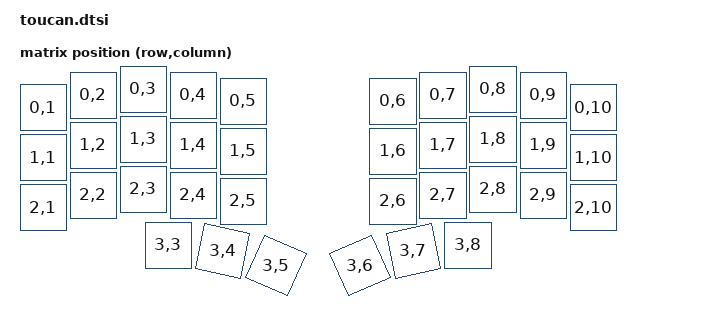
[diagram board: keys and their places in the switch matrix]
// The fork defaults to six columns. This Toucan has five columns and three
// thumbs per side. Keep the same 36-position order as hardware_layouts/36-keys.h
// so shared combos and positional hold-taps refer to the correct physical keys.
&default_transform {
    map = <
        RC(0,1) RC(0,2) RC(0,3) RC(0,4) RC(0,5) RC(0,6) RC(0,7) RC(0,8) RC(0,9) RC(0,10)
        RC(1,1) RC(1,2) RC(1,3) RC(1,4) RC(1,5) RC(1,6) RC(1,7) RC(1,8) RC(1,9) RC(1,10)
        RC(2,1) RC(2,2) RC(2,3) RC(2,4) RC(2,5) RC(2,6) RC(2,7) RC(2,8) RC(2,9) RC(2,10)
                            RC(3,3) RC(3,4) RC(3,5) RC(3,6) RC(3,7) RC(3,8)
    >;
};

// Match the physical layout to the reduced transform for ZMK Studio.
// Geometry is taken from the working fork, excluding its six outer-column keys.
/ {
default_layout: default_layout {
    compatible = "zmk,physical-layout";
    keys = <&key_physical_attrs 100 100  100   37       0     0     0>
         , <&key_physical_attrs 100 100  200   12       0     0     0>
         , <&key_physical_attrs 100 100  300    0       0     0     0>
         , <&key_physical_attrs 100 100  400   12       0     0     0>
         , <&key_physical_attrs 100 100  500   24       0     0     0>
         , <&key_physical_attrs 100 100  800   24       0     0     0>
         , <&key_physical_attrs 100 100  900   12       0     0     0>
         , <&key_physical_attrs 100 100 1000    0       0     0     0>
         , <&key_physical_attrs 100 100 1100   12       0     0     0>
         , <&key_physical_attrs 100 100 1200   37       0     0     0>
         , <&key_physical_attrs 100 100  100  137       0     0     0>
         , <&key_physical_attrs 100 100  200  112       0     0     0>
         , <&key_physical_attrs 100 100  300  100       0     0     0>
         , <&key_physical_attrs 100 100  400  112       0     0     0>
         , <&key_physical_attrs 100 100  500  124       0     0     0>
         , <&key_physical_attrs 100 100  800  124       0     0     0>
         , <&key_physical_attrs 100 100  900  112       0     0     0>
         , <&key_physical_attrs 100 100 1000  100       0     0     0>
         , <&key_physical_attrs 100 100 1100  112       0     0     0>
         , <&key_physical_attrs 100 100 1200  137       0     0     0>
         , <&key_physical_attrs 100 100  100  237       0     0     0>
         , <&key_physical_attrs 100 100  200  212       0     0     0>
         , <&key_physical_attrs 100 100  300  200       0     0     0>
         , <&key_physical_attrs 100 100  400  212       0     0     0>
         , <&key_physical_attrs 100 100  500  224       0     0     0>
         , <&key_physical_attrs 100 100  800  224       0     0     0>
         , <&key_physical_attrs 100 100  900  212       0     0     0>
         , <&key_physical_attrs 100 100 1000  200       0     0     0>
         , <&key_physical_attrs 100 100 1100  212       0     0     0>
         , <&key_physical_attrs 100 100 1200  237       0     0     0>
         , <&key_physical_attrs 100 100  350  312       0     0     0>
         , <&key_physical_attrs 100 100  450  312    1200   450   412>
         , <&key_physical_attrs 100 100  548  328    2400   548   433>
         , <&key_physical_attrs 100 100  752  328  (-2400)  852   433>
         , <&key_physical_attrs 100 100  850  312  (-1200)  950   412>
         , <&key_physical_attrs 100 100  950  312       0     0     0>;
};
};
